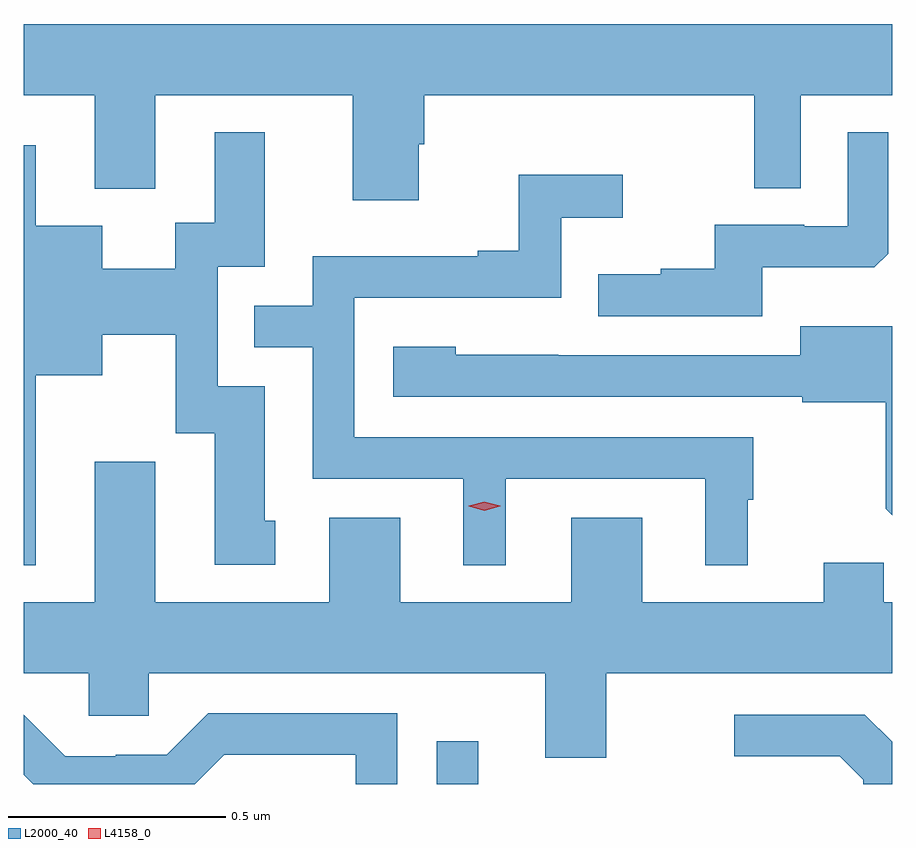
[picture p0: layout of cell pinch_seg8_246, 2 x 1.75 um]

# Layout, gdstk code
import gdstk
lib = gdstk.Library(unit=1e-6, precision=1e-09)
def R(c, l, rs):  # rectangles x0, y0, x1, y1
    for r in rs: c.add(gdstk.rectangle(r[:2], r[2:], *l))
def P(c, l, *ps):  # polygons
    for p in ps: c.add(gdstk.Polygon(p, *l))
L2000_40 = (2000, 40)
L4158_0 = (4158, 0)

pinch_seg8_246 = lib.new_cell('pinch_seg8_246')
R(pinch_seg8_246, L2000_40, [(820.951,1100.261,821.047,1100.359)])
P(pinch_seg8_246, L2000_40, [(820.909,1101.735),(820.922,1101.735),(820.922,1101.848),(821.682,1101.848),(821.682,1101.634),(821.79,1101.634),(821.79,1101.848),(822,1101.848),(822,1102.012),(820,1102.012),(820,1101.848),(820.163,1101.848),(820.163,1101.632),(820.303,1101.632),(820.303,1101.848),(820.757,1101.848),(820.757,1101.606),(820.909,1101.606)],
  [(821.701,1101.452),(821.959,1101.452),(821.991,1101.483),(821.991,1101.763),(821.898,1101.763),(821.898,1101.546),(821.798,1101.546),(821.798,1101.549),(821.591,1101.549),(821.591,1101.448),(821.467,1101.448),(821.467,1101.436),(821.323,1101.436),(821.323,1101.339),(821.701,1101.339)],
  [(820.027,1101.203),(820.18,1101.203),(820.18,1101.296),(820.35,1101.296),(820.35,1101.069),(820.439,1101.069),(820.439,1100.766),(820.579,1100.766),(820.579,1100.868),(820.555,1100.868),(820.555,1101.177),(820.446,1101.177),(820.446,1101.453),(820.555,1101.453),(820.555,1101.763),(820.439,1101.763),(820.439,1101.554),(820.349,1101.554),(820.349,1101.448),(820.18,1101.448),(820.18,1101.547),(820.027,1101.547),(820.027,1101.733),(820,1101.733),(820,1100.765),(820.027,1100.765)],
  [(821.11,1100.964),(821.57,1100.964),(821.57,1100.765),(821.668,1100.765),(821.668,1100.916),(821.68,1100.916),(821.68,1101.06),(820.761,1101.06),(820.761,1101.381),(821.238,1101.381),(821.238,1101.566),(821.38,1101.566),(821.38,1101.665),(821.14,1101.665),(821.14,1101.49),(821.045,1101.49),(821.045,1101.477),(820.665,1101.477),(820.665,1101.363),(820.531,1101.363),(820.531,1101.267),(820.665,1101.267),(820.665,1100.964),(821.012,1100.964),(821.012,1100.765),(821.11,1100.765)],
  [(822,1101.316),(821.789,1101.316),(821.789,1101.249),(821.231,1101.249),(821.231,1101.25),(820.995,1101.25),(820.995,1101.268),(820.851,1101.268),(820.851,1101.153),(821.793,1101.153),(821.793,1101.141),(821.985,1101.141),(821.985,1100.895),(822,1100.88)],
  [(820.287,1100.516),(821.201,1100.516),(821.201,1100.322),(821.341,1100.322),(821.341,1100.516),(822,1100.516),(822,1100.68),(821.981,1100.68),(821.981,1100.771),(821.843,1100.771),(821.843,1100.68),(821.425,1100.68),(821.425,1100.875),(821.261,1100.875),(821.261,1100.68),(820.867,1100.68),(820.867,1100.875),(820.703,1100.875),(820.703,1100.68),(820.303,1100.68),(820.303,1101.004),(820.163,1101.004),(820.163,1100.68),(820,1100.68),(820,1100.516),(820.149,1100.516),(820.149,1100.418),(820.287,1100.418)],
  [(820.461,1100.328),(820.764,1100.328),(820.764,1100.261),(820.86,1100.261),(820.86,1100.424),(820.425,1100.424),(820.329,1100.328),(820.211,1100.328),(820.211,1100.325),(820.095,1100.325),(820,1100.42),(820,1100.282),(820.021,1100.261),(820.394,1100.261)],
  [(822,1100.358),(821.937,1100.421),(821.637,1100.421),(821.637,1100.325),(821.88,1100.325),(821.934,1100.271),(821.934,1100.261),(822,1100.261)])
P(pinch_seg8_246, L4158_0, [(821.061,1100.891),(821.025,1100.901),(821.025,1100.901),(821.025,1100.902),(821.061,1100.911),(821.097,1100.902),(821.097,1100.901),(821.097,1100.901)])

lib.write_gds('pinch_seg8_246.gds')
